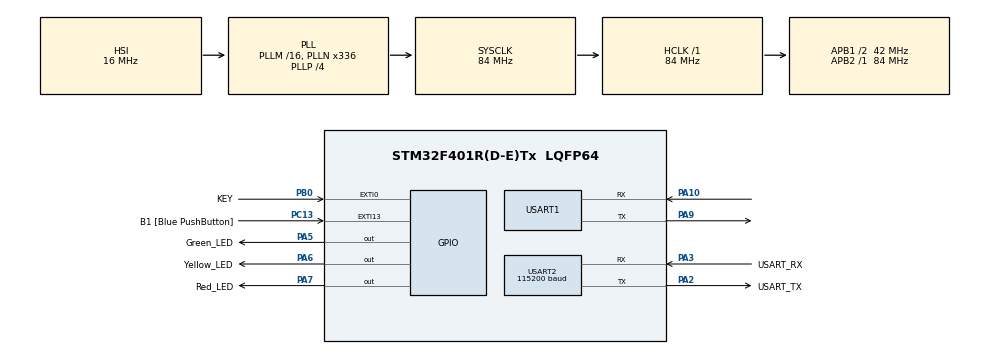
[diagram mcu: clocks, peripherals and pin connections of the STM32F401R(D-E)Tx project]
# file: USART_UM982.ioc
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FREERTOS.Tasks01=defaultTask,24,128,StartDefaultTask,Default,NULL,Dynamic,NULL,NULL;UM982Task,40,1000,UM982Handler,Default,NULL,Dynamic,NULL,NULL
FREERTOS.configUSE_NEWLIB_REENTRANT=1
Mcu.Family=STM32F4
Mcu.Name=STM32F401R(D-E)Tx
Mcu.Package=LQFP64
NVIC.EXTI0_IRQn=true\:5\:0\:false\:false\:true\:true\:true\:true\:true
NVIC.PriorityGroup=NVIC_PRIORITYGROUP_4
NVIC.TIM1_UP_TIM10_IRQn=true\:0\:0\:true\:false\:true\:false\:false\:true\:true
NVIC.TimeBase=TIM1_UP_TIM10_IRQn
NVIC.TimeBaseIP=TIM1
NVIC.USART1_IRQn=true\:5\:0\:false\:false\:true\:true\:true\:true\:true
NVIC.USART2_IRQn=true\:5\:0\:false\:false\:true\:true\:true\:true\:true
PA10.Mode=Asynchronous
PA10.Signal=USART1_RX
PA13.GPIO_Label=TMS
PA13.Mode=Trace_Asynchronous_SW
PA13.Signal=SYS_JTMS-SWDIO
PA14.GPIO_Label=TCK
PA14.Mode=Trace_Asynchronous_SW
PA14.Signal=SYS_JTCK-SWCLK
PA2.GPIO_Label=USART_TX
PA2.GPIO_Mode=GPIO_MODE_AF_PP
PA2.GPIO_PuPd=GPIO_NOPULL
PA2.GPIO_Speed=GPIO_SPEED_FREQ_LOW
PA2.Mode=Asynchronous
PA2.Signal=USART2_TX
PA3.GPIO_Label=USART_RX
PA3.GPIO_Mode=GPIO_MODE_AF_PP
PA3.GPIO_PuPd=GPIO_NOPULL
PA3.GPIO_Speed=GPIO_SPEED_FREQ_LOW
PA3.Mode=Asynchronous
PA3.Signal=USART2_RX
PA5.GPIO_Label=Green_LED
PA5.GPIO_Mode=GPIO_MODE_OUTPUT_PP
PA5.GPIO_PuPd=GPIO_NOPULL
PA5.GPIO_Speed=GPIO_SPEED_FREQ_LOW
PA5.Signal=GPIO_Output
PA6.GPIO_Label=Yellow_LED
PA6.Signal=GPIO_Output
PA7.GPIO_Label=Red_LED
PA7.Signal=GPIO_Output
PA9.Mode=Asynchronous
PA9.Signal=USART1_TX
PB0.GPIO_Label=KEY
PB0.GPIO_ModeDefaultEXTI=GPIO_MODE_IT_RISING
PB0.Signal=GPXTI0
PB3.GPIO_Label=SWO
PB3.Mode=Trace_Asynchronous_SW
PB3.Signal=SYS_JTDO-SWO
PC13-ANTI_TAMP.GPIO_Label=B1 [Blue PushButton]
PC13-ANTI_TAMP.GPIO_ModeDefaultEXTI=GPIO_MODE_IT_FALLING
PC13-ANTI_TAMP.GPIO_PuPd=GPIO_NOPULL
PC13-ANTI_TAMP.Signal=GPXTI13
PC14-OSC32_IN.Mode=LSE-External-Oscillator
PC14-OSC32_IN.Signal=RCC_OSC32_IN
PC15-OSC32_OUT.Mode=LSE-External-Oscillator
PC15-OSC32_OUT.Signal=RCC_OSC32_OUT
PH0\ -\ OSC_IN.Mode=HSE-External-Clock-Source
PH0\ -\ OSC_IN.Signal=RCC_OSC_IN
PH1\ -\ OSC_OUT.Mode=HSE-External-Clock-Source
PH1\ -\ OSC_OUT.Signal=RCC_OSC_OUT
ProjectManager.HeapSize=0x200
ProjectManager.StackSize=0x400
ProjectManager.TargetToolchain=STM32CubeIDE
RCC.48MHZClocksFreq_Value=48000000
RCC.AHBFreq_Value=84000000
RCC.APB1CLKDivider=RCC_HCLK_DIV2
RCC.APB1Freq_Value=42000000
RCC.APB1TimFreq_Value=84000000
RCC.APB2Freq_Value=84000000
RCC.APB2TimFreq_Value=84000000
RCC.CortexFreq_Value=84000000
RCC.HCLKFreq_Value=84000000
RCC.HSE_VALUE=8000000
RCC.HSI_VALUE=16000000
RCC.PLLN=336
RCC.PLLP=RCC_PLLP_DIV4
RCC.PLLQ=7
RCC.SYSCLKFreq_VALUE=84000000
RCC.SYSCLKSource=RCC_SYSCLKSOURCE_PLLCLK
RCC.VCOOutputFreq_Value=336000000
USART1.VirtualMode=VM_ASYNC
USART2.BaudRate=115200
USART2.VirtualMode=VM_ASYNC
VP_FREERTOS_VS_CMSIS_V2.Mode=CMSIS_V2
VP_SYS_VS_tim1.Mode=TIM1
board=NUCLEO-F401RE

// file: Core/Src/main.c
/* USER CODE BEGIN Header */
/**
  ******************************************************************************
  * @file           : main.c
  * @brief          : Main program body
  ******************************************************************************
  * @attention
  *
  * Copyright (c) 2025 STMicroelectronics.
  * All rights reserved.
  *
  * This software is licensed under terms that can be found in the LICENSE file
  * in the root directory of this software component.
  * If no LICENSE file comes with this software, it is provided AS-IS.
  *
  ******************************************************************************
  */
/* USER CODE END Header */
#include "main.h"
#include "cmsis_os.h"
#include "usart.h"
#include "gpio.h"

void SystemClock_Config(void);
void MX_FREERTOS_Init(void);

int main(void)
{

  /* MCU Configuration--------------------------------------------------------*/

  /* Reset of all peripherals, Initializes the Flash interface and the Systick. */
  HAL_Init();

  /* Configure the system clock */
  SystemClock_Config();

  /* Initialize all configured peripherals */
  MX_GPIO_Init();
  MX_USART2_UART_Init();
  MX_USART1_UART_Init();

  /* Init scheduler */
  osKernelInitialize();

  /* Call init function for freertos objects (in cmsis_os2.c) */
  MX_FREERTOS_Init();

  /* Start scheduler */
  osKernelStart();

  /* We should never get here as control is now taken by the scheduler */

  /* Infinite loop */
  while (1)
  {

  }
}

void SystemClock_Config(void)
{
  RCC_OscInitTypeDef RCC_OscInitStruct = {0};
  RCC_ClkInitTypeDef RCC_ClkInitStruct = {0};

  /** Configure the main internal regulator output voltage
  */
  __HAL_RCC_PWR_CLK_ENABLE();
  __HAL_PWR_VOLTAGESCALING_CONFIG(PWR_REGULATOR_VOLTAGE_SCALE2);

  /** Initializes the RCC Oscillators according to the specified parameters
  * in the RCC_OscInitTypeDef structure.
  */
  RCC_OscInitStruct.OscillatorType = RCC_OSCILLATORTYPE_HSI;
  RCC_OscInitStruct.HSIState = RCC_HSI_ON;
  RCC_OscInitStruct.HSICalibrationValue = RCC_HSICALIBRATION_DEFAULT;
  RCC_OscInitStruct.PLL.PLLState = RCC_PLL_ON;
  RCC_OscInitStruct.PLL.PLLSource = RCC_PLLSOURCE_HSI;
  RCC_OscInitStruct.PLL.PLLM = 16;
  RCC_OscInitStruct.PLL.PLLN = 336;
  RCC_OscInitStruct.PLL.PLLP = RCC_PLLP_DIV4;
  RCC_OscInitStruct.PLL.PLLQ = 7;
  if (HAL_RCC_OscConfig(&RCC_OscInitStruct) != HAL_OK)
  {
    Error_Handler();
  }

  /** Initializes the CPU, AHB and APB buses clocks
  */
  RCC_ClkInitStruct.ClockType = RCC_CLOCKTYPE_HCLK|RCC_CLOCKTYPE_SYSCLK
                              |RCC_CLOCKTYPE_PCLK1|RCC_CLOCKTYPE_PCLK2;
  RCC_ClkInitStruct.SYSCLKSource = RCC_SYSCLKSOURCE_PLLCLK;
  RCC_ClkInitStruct.AHBCLKDivider = RCC_SYSCLK_DIV1;
  RCC_ClkInitStruct.APB1CLKDivider = RCC_HCLK_DIV2;
  RCC_ClkInitStruct.APB2CLKDivider = RCC_HCLK_DIV1;

  if (HAL_RCC_ClockConfig(&RCC_ClkInitStruct, FLASH_LATENCY_2) != HAL_OK)
  {
    Error_Handler();
  }
}

void HAL_TIM_PeriodElapsedCallback(TIM_HandleTypeDef *htim)
{
  if (htim->Instance == TIM1) {
    HAL_IncTick();
  }
}

void Error_Handler(void)
{
  __disable_irq();
  while (1)
  {
  }
}

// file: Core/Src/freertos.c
/* USER CODE BEGIN Header */
/**
  ******************************************************************************
  * File Name          : freertos.c
  * Description        : Code for freertos applications
  ******************************************************************************
  * @attention
  *
  * Copyright (c) 2025 STMicroelectronics.
  * All rights reserved.
  *
  * This software is licensed under terms that can be found in the LICENSE file
  * in the root directory of this software component.
  * If no LICENSE file comes with this software, it is provided AS-IS.
  *
  ******************************************************************************
  */
/* USER CODE END Header */

#include "FreeRTOS.h"
#include "task.h"
#include "main.h"
#include "cmsis_os.h"

/* USER CODE BEGIN Includes */

#include "UM982.h"
#include "stdio.h"

#include "usart.h"

/* USER CODE END Includes */

/* USER CODE BEGIN Variables */

osSemaphoreId_t osBinarySemaphore_UART;

uint8_t ReceiveDataEx[300];

MessageBufferHandle_t osMessageBuffer;

/* USER CODE END Variables */
/* Definitions for defaultTask */
osThreadId_t defaultTaskHandle;
const osThreadAttr_t defaultTask_attributes = {
  .name = "defaultTask",
  .stack_size = 128 * 4,
  .priority = (osPriority_t) osPriorityNormal,
};
/* Definitions for UM982Task */
osThreadId_t UM982TaskHandle;
const osThreadAttr_t UM982Task_attributes = {
  .name = "UM982Task",
  .stack_size = 1000 * 4,
  .priority = (osPriority_t) osPriorityHigh,
};

void StartDefaultTask(void *argument);
void UM982Handler(void *argument);

void MX_FREERTOS_Init(void); /* (MISRA C 2004 rule 8.1) */

void MX_FREERTOS_Init(void) {
  /* USER CODE BEGIN Init */
	HAL_UARTEx_ReceiveToIdle_IT(&huart1, ReceiveDataEx, sizeof(ReceiveDataEx));

  /* USER CODE END Init */

  /* USER CODE BEGIN RTOS_SEMAPHORES */
	osBinarySemaphore_UART = osSemaphoreNew(1, 0, NULL);

  /* USER CODE END RTOS_SEMAPHORES */

  /* USER CODE BEGIN RTOS_QUEUES */
	osMessageBuffer = xMessageBufferCreate(BUFFER_SIZE);
  /* USER CODE END RTOS_QUEUES */

  /* Create the thread(s) */
  /* creation of defaultTask */
  defaultTaskHandle = osThreadNew(StartDefaultTask, NULL, &defaultTask_attributes);

  /* creation of UM982Task */
    UM982TaskHandle = osThreadNew(UM982Handler, NULL, &UM982Task_attributes);

}

void StartDefaultTask(void *argument)
{
  for(;;)
  {
    osDelay(1);
  }
}

void UM982Handler(void *argument)
{
  /* USER CODE BEGIN UM982Handler */

	uint8_t ReceiveData[RECEIVE_MAX_SIZE];
	uint8_t received_size;

  /* Infinite loop */
  for(;;)
  {

		osStatus_t status = osSemaphoreAcquire(osBinarySemaphore_UART, pdMS_TO_TICKS(100));

		if (status == osOK){

			HAL_GPIO_TogglePin(Green_LED_GPIO_Port, Green_LED_Pin);

			// RxBuffer Receive + Size Estimation
			received_size = xMessageBufferReceive(osMessageBuffer, ReceiveData, sizeof(ReceiveData), pdMS_TO_TICKS(100));

			// Data Processing
			if (received_size > 0){
				satellite_analyze(&plane_from_satellite, ReceiveData);
			}

			// TxBuffer Transmit
			HAL_UART_Transmit(&huart2, ReceiveData, received_size, 100);

			int print_size = snprintf(NULL, 0, "LAT:%.6f, LON:%.6f, ALT:%.2f, SAT:%d STS:%d, LEN:%.4f, HEAD:%.4f, PIT:%.4f\n",

					plane_from_satellite.latitude,
					plane_from_satellite.longitude,
					plane_from_satellite.altitude,
					plane_from_satellite.gps_num,
					plane_from_satellite.gps_status,
					plane_from_satellite.length,
					plane_from_satellite.heading,
					plane_from_satellite.pitch

						);

			char CharData[print_size];

			snprintf(CharData, sizeof(CharData), "LAT:%.6f, LON:%.6f, ALT:%.2f, SAT:%d STS:%d, LEN:%.4f, HEAD:%.4f, PIT:%.4f\n",

					plane_from_satellite.latitude,
					plane_from_satellite.longitude,
					plane_from_satellite.altitude,
					plane_from_satellite.gps_num,
					plane_from_satellite.gps_status,
					plane_from_satellite.length,
					plane_from_satellite.heading,
					plane_from_satellite.pitch

					);

			HAL_UART_Transmit(&huart2, (uint8_t *)CharData, sizeof(CharData), 100);

		} else {

//  		HAL_UART_Transmit(&huart2, (uint8_t *)"Semaphore Error\n", 17, 100);
		}
  }
  /* USER CODE END UM982Handler */
}
